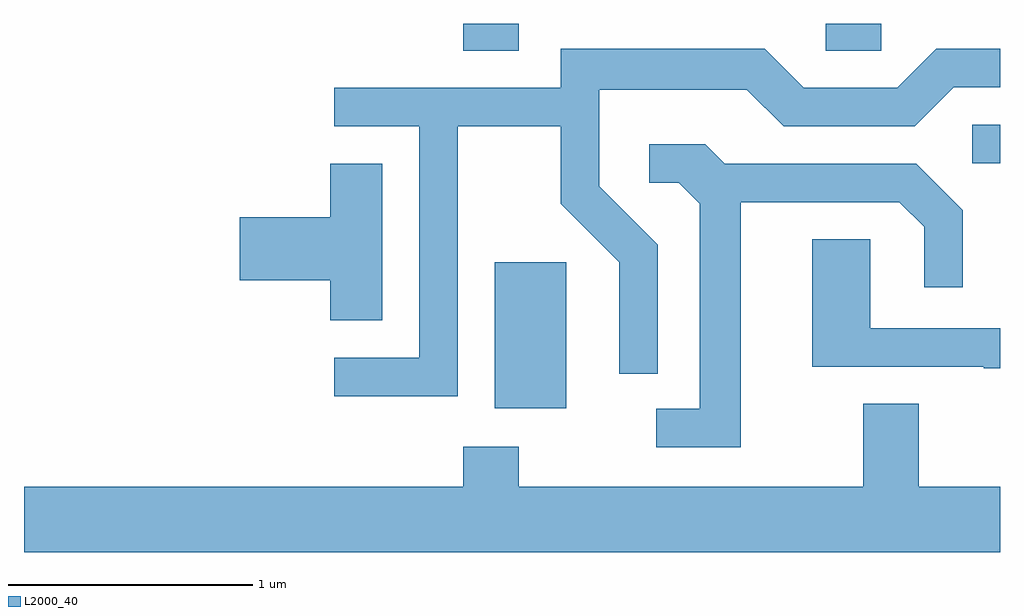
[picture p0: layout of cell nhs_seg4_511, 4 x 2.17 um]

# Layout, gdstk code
import gdstk
lib = gdstk.Library(unit=1e-6, precision=1e-09)
def R(c, l, rs):  # rectangles x0, y0, x1, y1
    for r in rs: c.add(gdstk.rectangle(r[:2], r[2:], *l))
def P(c, l, *ps):  # polygons
    for p in ps: c.add(gdstk.Polygon(p, *l))
L2000_40 = (2000, 40)

nhs_seg4_511 = lib.new_cell('nhs_seg4_511')
R(nhs_seg4_511, L2000_40, [(201.541,1326.406,201.834,1327.004), (203.498,1327.411,203.611,1327.569), (201.411,1327.871,201.639,1327.982), (202.896,1327.871,203.124,1327.982)])
P(nhs_seg4_511, L2000_40, [(201.389,1327.561),(201.811,1327.561),(201.811,1327.244),(202.051,1327.004),(202.051,1326.548),(202.209,1326.548),(202.209,1327.077),(201.969,1327.317),(201.969,1327.711),(202.574,1327.711),(202.724,1327.561),(203.262,1327.561),(203.422,1327.721),(203.611,1327.721),(203.611,1327.879),(203.349,1327.879),(203.189,1327.719),(202.807,1327.719),(202.647,1327.879),(201.811,1327.879),(201.811,1327.719),(200.883,1327.719),(200.883,1327.561),(201.231,1327.561),(201.231,1326.614),(200.883,1326.614),(200.883,1326.456),(201.389,1326.456)],
  [(202.549,1327.251),(203.199,1327.251),(203.301,1327.149),(203.301,1326.903),(203.459,1326.903),(203.459,1327.217),(203.267,1327.409),(202.482,1327.409),(202.402,1327.489),(202.173,1327.489),(202.173,1327.331),(202.294,1327.331),(202.381,1327.244),(202.381,1326.404),(202.203,1326.404),(202.203,1326.246),(202.549,1326.246)],
  [(201.079,1327.409),(200.866,1327.409),(200.866,1327.189),(200.496,1327.189),(200.496,1326.931),(200.866,1326.931),(200.866,1326.766),(201.079,1326.766)],
  [(203.611,1326.734),(203.079,1326.734),(203.079,1327.099),(202.841,1327.099),(202.841,1326.576),(203.545,1326.576),(203.545,1326.571),(203.611,1326.571)],
  [(203.611,1326.084),(203.279,1326.084),(203.279,1326.424),(203.051,1326.424),(203.051,1326.084),(201.639,1326.084),(201.639,1326.249),(201.411,1326.249),(201.411,1326.084),(199.611,1326.084),(199.611,1325.816),(203.611,1325.816)])

lib.write_gds('nhs_seg4_511.gds')
